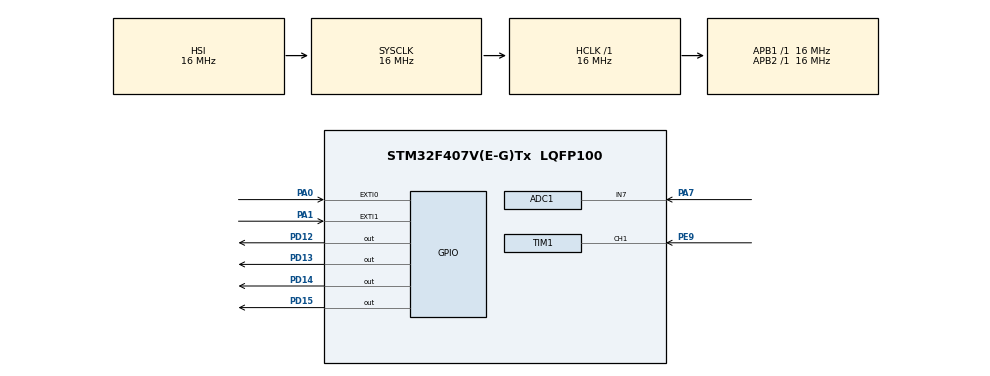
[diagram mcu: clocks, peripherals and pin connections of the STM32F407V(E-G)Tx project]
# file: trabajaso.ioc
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ADC1.Channel-0\#ChannelRegularConversion=ADC_CHANNEL_7
ADC1.NbrOfConversionFlag=1
ADC1.Rank-0\#ChannelRegularConversion=1
ADC1.Resolution=ADC_RESOLUTION_8B
ADC1.SamplingTime-0\#ChannelRegularConversion=ADC_SAMPLETIME_3CYCLES
ADC1.master=1
Mcu.Family=STM32F4
Mcu.Name=STM32F407V(E-G)Tx
Mcu.Package=LQFP100
NVIC.EXTI0_IRQn=true\:0\:0\:false\:false\:true\:true
NVIC.EXTI1_IRQn=true\:0\:0\:false\:false\:true\:true
NVIC.PriorityGroup=NVIC_PRIORITYGROUP_4
PA0-WKUP.Signal=GPXTI0
PA1.Signal=GPXTI1
PA7.Signal=ADCx_IN7
PD12.Signal=GPIO_Output
PD13.Signal=GPIO_Output
PD14.Signal=GPIO_Output
PD15.Signal=GPIO_Output
PE9.Signal=S_TIM1_CH1
ProjectManager.HeapSize=0x200
ProjectManager.StackSize=0x400
ProjectManager.TargetToolchain=MDK-ARM V5
RCC.AHBFreq_Value=16000000
RCC.APB1Freq_Value=16000000
RCC.APB2Freq_Value=16000000
RCC.CortexFreq_Value=16000000
RCC.HSE_VALUE=25000000
RCC.HSI_VALUE=16000000
RCC.LSE_VALUE=32768
RCC.SYSCLKFreq_VALUE=16000000
RCC.VCOOutputFreq_Value=192000000
SH.ADCx_IN7.0=ADC1_IN7,IN7
SH.S_TIM1_CH1.0=TIM1_CH1,Input_Capture1_from_TI1
TIM1.Channel-Input_Capture1_from_TI1=TIM_CHANNEL_1
TIM1.Period=5000
TIM1.Prescaler=16000
board=trabajaso

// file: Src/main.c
/**
  ******************************************************************************
  * @file           : main.c
  * @brief          : Main program body
  ******************************************************************************
  ** This notice applies to any and all portions of this file
  * that are not between comment pairs USER CODE BEGIN and
  * USER CODE END. Other portions of this file, whether
  * inserted by the user or by software development tools
  * are owned by their respective copyright owners.
  *
  * COPYRIGHT(c) 2019 STMicroelectronics
  *
  * Redistribution and use in source and binary forms, with or without modification,
  * are permitted provided that the following conditions are met:
  *   1. Redistributions of source code must retain the above copyright notice,
  *      this list of conditions and the following disclaimer.
  *   2. Redistributions in binary form must reproduce the above copyright notice,
  *      this list of conditions and the following disclaimer in the documentation
  *      and/or other materials provided with the distribution.
  *   3. Neither the name of STMicroelectronics nor the names of its contributors
  *      may be used to endorse or promote products derived from this software
  *      without specific prior written permission.
  *
  * THIS SOFTWARE IS PROVIDED BY THE COPYRIGHT HOLDERS AND CONTRIBUTORS "AS IS"
  * AND ANY EXPRESS OR IMPLIED WARRANTIES, INCLUDING, BUT NOT LIMITED TO, THE
  * IMPLIED WARRANTIES OF MERCHANTABILITY AND FITNESS FOR A PARTICULAR PURPOSE ARE
  * DISCLAIMED. IN NO EVENT SHALL THE COPYRIGHT HOLDER OR CONTRIBUTORS BE LIABLE
  * FOR ANY DIRECT, INDIRECT, INCIDENTAL, SPECIAL, EXEMPLARY, OR CONSEQUENTIAL
  * DAMAGES (INCLUDING, BUT NOT LIMITED TO, PROCUREMENT OF SUBSTITUTE GOODS OR
  * SERVICES; LOSS OF USE, DATA, OR PROFITS; OR BUSINESS INTERRUPTION) HOWEVER
  * CAUSED AND ON ANY THEORY OF LIABILITY, WHETHER IN CONTRACT, STRICT LIABILITY,
  * OR TORT (INCLUDING NEGLIGENCE OR OTHERWISE) ARISING IN ANY WAY OUT OF THE USE
  * OF THIS SOFTWARE, EVEN IF ADVISED OF THE POSSIBILITY OF SUCH DAMAGE.
  *
  ******************************************************************************
  */
#include "main.h"
#include "stm32f4xx_hal.h"

ADC_HandleTypeDef hadc1;

TIM_HandleTypeDef htim1;

/* USER CODE BEGIN PV */
/* Private variables ---------------------------------------------------------*/
volatile int finTemp=0, subir=0, subido=1, bajar=0, bajado=0;
int luminosidad;
/* USER CODE END PV */

void SystemClock_Config(void);
static void MX_GPIO_Init(void);
static void MX_ADC1_Init(void);
static void MX_TIM1_Init(void);

/* USER CODE BEGIN PFP */
/* Private function prototypes -----------------------------------------------*/

/* USER CODE END PFP */

/* USER CODE BEGIN 0 */
void HAL_GPIO_EXTI_Callback(uint16_t GPIO_Pin)		//gestion de las interrupciones
{
				if(GPIO_Pin == GPIO_PIN_0)		//seleccion del boton de usuario
	{
		if(subido==1)
		bajar=1;
	/*else
		subir=1;*/
	}
	if(GPIO_Pin== GPIO_PIN_1)						//gestion del boton externo
	{
		if(bajado==1)
		subir=1;
	/*else
		subir=1;*/
	}
}

/* USER CODE END 0 */

int main(void)
{

  /* MCU Configuration----------------------------------------------------------*/

  /* Reset of all peripherals, Initializes the Flash interface and the Systick. */
  HAL_Init();

  /* Configure the system clock */
  SystemClock_Config();

  /* Initialize all configured peripherals */
  MX_GPIO_Init();
  MX_ADC1_Init();
  MX_TIM1_Init();

  /* Infinite loop */
  /* USER CODE BEGIN WHILE */
  while (1)
  {
		HAL_NVIC_DisableIRQ(EXTI0_IRQn);
		HAL_NVIC_EnableIRQ(EXTI0_IRQn);

		htim1.Instance->CNT=0;   //se reinicia el temporizador

		while(((subir==1)&&(subido==0))||((luminosidad>180)&&(subido==0))){		//subir persiana
			HAL_GPIO_WritePin(GPIOD,GPIO_PIN_12,GPIO_PIN_RESET);
			HAL_GPIO_WritePin(GPIOD, GPIO_PIN_13, GPIO_PIN_RESET);
			HAL_GPIO_WritePin(GPIOD,GPIO_PIN_15,GPIO_PIN_SET);

			HAL_TIM_Base_Start(&htim1);							//se inicia el temporizador para la subida

			int Tempo = __HAL_TIM_GET_COUNTER(&htim1);

			if (Tempo==5000)
			{
			HAL_GPIO_WritePin(GPIOD, GPIO_PIN_15, GPIO_PIN_RESET);
			HAL_GPIO_WritePin(GPIOD,GPIO_PIN_13,GPIO_PIN_SET);

			subido=1;
			bajado=0;
			subir=0;
			bajar=0;
			}
		}
		HAL_ADC_Start(&hadc1);
if (HAL_ADC_PollForConversion(&hadc1,1000000)==HAL_OK)			//convertidor AD
{
 luminosidad=HAL_ADC_GetValue(&hadc1);
}
				while(((bajar==1) && (bajado==0))||((luminosidad<35) && (bajado==0))){		//bajar persiana
			HAL_GPIO_WritePin(GPIOD, GPIO_PIN_13, GPIO_PIN_RESET);
			HAL_GPIO_WritePin(GPIOD, GPIO_PIN_12, GPIO_PIN_RESET);
			HAL_GPIO_WritePin(GPIOD,GPIO_PIN_14,GPIO_PIN_SET);

			HAL_TIM_Base_Start(&htim1);													//se inicia el temporizador para la bajada

			int Tempo = __HAL_TIM_GET_COUNTER(&htim1);

			if (Tempo==5000)
			{
			HAL_GPIO_WritePin(GPIOD, GPIO_PIN_14, GPIO_PIN_RESET);
			HAL_GPIO_WritePin(GPIOD,GPIO_PIN_12,GPIO_PIN_SET);
			bajado=1;
			bajar=0;
			subido=0;
			subir=0;
			}
		}
  /* USER CODE END WHILE */

  }

}

void SystemClock_Config(void)
{

  RCC_OscInitTypeDef RCC_OscInitStruct;
  RCC_ClkInitTypeDef RCC_ClkInitStruct;

    /**Configure the main internal regulator output voltage
    */
  __HAL_RCC_PWR_CLK_ENABLE();

  __HAL_PWR_VOLTAGESCALING_CONFIG(PWR_REGULATOR_VOLTAGE_SCALE1);

    /**Initializes the CPU, AHB and APB busses clocks
    */
  RCC_OscInitStruct.OscillatorType = RCC_OSCILLATORTYPE_HSI;
  RCC_OscInitStruct.HSIState = RCC_HSI_ON;
  RCC_OscInitStruct.HSICalibrationValue = 16;
  RCC_OscInitStruct.PLL.PLLState = RCC_PLL_NONE;
  if (HAL_RCC_OscConfig(&RCC_OscInitStruct) != HAL_OK)
  {
    _Error_Handler(__FILE__, __LINE__);
  }

    /**Initializes the CPU, AHB and APB busses clocks
    */
  RCC_ClkInitStruct.ClockType = RCC_CLOCKTYPE_HCLK|RCC_CLOCKTYPE_SYSCLK
                              |RCC_CLOCKTYPE_PCLK1|RCC_CLOCKTYPE_PCLK2;
  RCC_ClkInitStruct.SYSCLKSource = RCC_SYSCLKSOURCE_HSI;
  RCC_ClkInitStruct.AHBCLKDivider = RCC_SYSCLK_DIV1;
  RCC_ClkInitStruct.APB1CLKDivider = RCC_HCLK_DIV1;
  RCC_ClkInitStruct.APB2CLKDivider = RCC_HCLK_DIV1;

  if (HAL_RCC_ClockConfig(&RCC_ClkInitStruct, FLASH_LATENCY_0) != HAL_OK)
  {
    _Error_Handler(__FILE__, __LINE__);
  }

    /**Configure the Systick interrupt time
    */
  HAL_SYSTICK_Config(HAL_RCC_GetHCLKFreq()/1000);

    /**Configure the Systick
    */
  HAL_SYSTICK_CLKSourceConfig(SYSTICK_CLKSOURCE_HCLK);

  /* SysTick_IRQn interrupt configuration */
  HAL_NVIC_SetPriority(SysTick_IRQn, 0, 0);
}

/* ADC1 init function */
static void MX_ADC1_Init(void)
{

  ADC_ChannelConfTypeDef sConfig;

    /**Configure the global features of the ADC (Clock, Resolution, Data Alignment and number of conversion)
    */
  hadc1.Instance = ADC1;
  hadc1.Init.ClockPrescaler = ADC_CLOCK_SYNC_PCLK_DIV2;
  hadc1.Init.Resolution = ADC_RESOLUTION_8B;
  hadc1.Init.ScanConvMode = DISABLE;
  hadc1.Init.ContinuousConvMode = DISABLE;
  hadc1.Init.DiscontinuousConvMode = DISABLE;
  hadc1.Init.ExternalTrigConvEdge = ADC_EXTERNALTRIGCONVEDGE_NONE;
  hadc1.Init.ExternalTrigConv = ADC_SOFTWARE_START;
  hadc1.Init.DataAlign = ADC_DATAALIGN_RIGHT;
  hadc1.Init.NbrOfConversion = 1;
  hadc1.Init.DMAContinuousRequests = DISABLE;
  hadc1.Init.EOCSelection = ADC_EOC_SINGLE_CONV;
  if (HAL_ADC_Init(&hadc1) != HAL_OK)
  {
    _Error_Handler(__FILE__, __LINE__);
  }

    /**Configure for the selected ADC regular channel its corresponding rank in the sequencer and its sample time.
    */
  sConfig.Channel = ADC_CHANNEL_7;
  sConfig.Rank = 1;
  sConfig.SamplingTime = ADC_SAMPLETIME_3CYCLES;
  if (HAL_ADC_ConfigChannel(&hadc1, &sConfig) != HAL_OK)
  {
    _Error_Handler(__FILE__, __LINE__);
  }

}

/* TIM1 init function */
static void MX_TIM1_Init(void)
{

  TIM_MasterConfigTypeDef sMasterConfig;
  TIM_IC_InitTypeDef sConfigIC;

  htim1.Instance = TIM1;
  htim1.Init.Prescaler = 16000;
  htim1.Init.CounterMode = TIM_COUNTERMODE_UP;
  htim1.Init.Period = 5000;
  htim1.Init.ClockDivision = TIM_CLOCKDIVISION_DIV1;
  htim1.Init.RepetitionCounter = 0;
  if (HAL_TIM_IC_Init(&htim1) != HAL_OK)
  {
    _Error_Handler(__FILE__, __LINE__);
  }

  sMasterConfig.MasterOutputTrigger = TIM_TRGO_RESET;
  sMasterConfig.MasterSlaveMode = TIM_MASTERSLAVEMODE_DISABLE;
  if (HAL_TIMEx_MasterConfigSynchronization(&htim1, &sMasterConfig) != HAL_OK)
  {
    _Error_Handler(__FILE__, __LINE__);
  }

  sConfigIC.ICPolarity = TIM_INPUTCHANNELPOLARITY_RISING;
  sConfigIC.ICSelection = TIM_ICSELECTION_DIRECTTI;
  sConfigIC.ICPrescaler = TIM_ICPSC_DIV1;
  sConfigIC.ICFilter = 0;
  if (HAL_TIM_IC_ConfigChannel(&htim1, &sConfigIC, TIM_CHANNEL_1) != HAL_OK)
  {
    _Error_Handler(__FILE__, __LINE__);
  }

}

/** Configure pins as
        * Analog
        * Input
        * Output
        * EVENT_OUT
        * EXTI
*/
static void MX_GPIO_Init(void)
{

  GPIO_InitTypeDef GPIO_InitStruct;

  /* GPIO Ports Clock Enable */
  __HAL_RCC_GPIOA_CLK_ENABLE();
  __HAL_RCC_GPIOE_CLK_ENABLE();
  __HAL_RCC_GPIOD_CLK_ENABLE();

  /*Configure GPIO pin Output Level */
  HAL_GPIO_WritePin(GPIOD, GPIO_PIN_12|GPIO_PIN_13|GPIO_PIN_14|GPIO_PIN_15, GPIO_PIN_RESET);

  /*Configure GPIO pins : PA0 PA1 */
  GPIO_InitStruct.Pin = GPIO_PIN_0|GPIO_PIN_1;
  GPIO_InitStruct.Mode = GPIO_MODE_IT_RISING;
  GPIO_InitStruct.Pull = GPIO_NOPULL;
  HAL_GPIO_Init(GPIOA, &GPIO_InitStruct);

  /*Configure GPIO pins : PD12 PD13 PD14 PD15 */
  GPIO_InitStruct.Pin = GPIO_PIN_12|GPIO_PIN_13|GPIO_PIN_14|GPIO_PIN_15;
  GPIO_InitStruct.Mode = GPIO_MODE_OUTPUT_PP;
  GPIO_InitStruct.Pull = GPIO_NOPULL;
  GPIO_InitStruct.Speed = GPIO_SPEED_FREQ_LOW;
  HAL_GPIO_Init(GPIOD, &GPIO_InitStruct);

  /* EXTI interrupt init*/
  HAL_NVIC_SetPriority(EXTI0_IRQn, 0, 0);
  HAL_NVIC_EnableIRQ(EXTI0_IRQn);

  HAL_NVIC_SetPriority(EXTI1_IRQn, 0, 0);
  HAL_NVIC_EnableIRQ(EXTI1_IRQn);

}

void _Error_Handler(char *file, int line)
{
  while(1)
  {
  }
}

/************************ (C) COPYRIGHT STMicroelectronics *****END OF FILE****/
